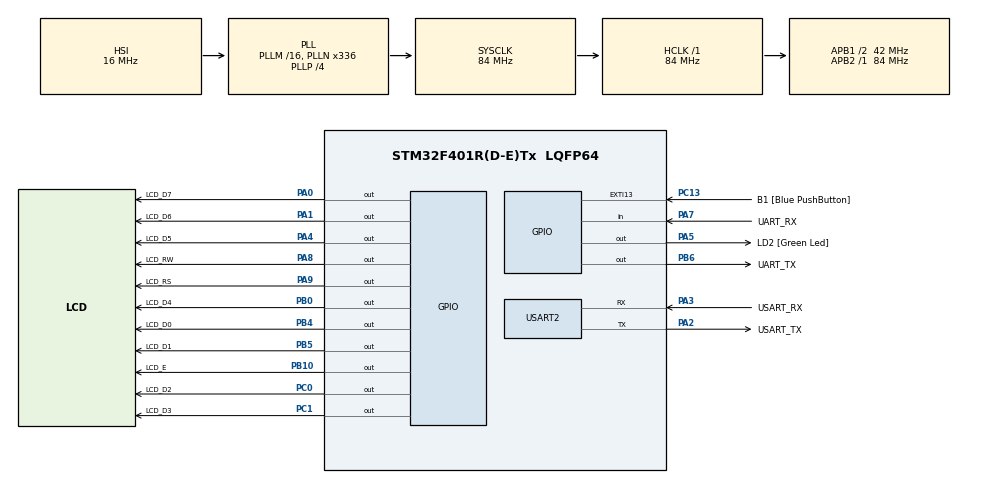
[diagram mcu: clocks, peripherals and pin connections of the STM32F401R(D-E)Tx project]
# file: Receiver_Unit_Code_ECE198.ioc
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Mcu.Family=STM32F4
Mcu.Name=STM32F401R(D-E)Tx
Mcu.Package=LQFP64
NVIC.PriorityGroup=NVIC_PRIORITYGROUP_0
PA0-WKUP.GPIO_Label=LCD_D7
PA0-WKUP.Signal=GPIO_Output
PA1.GPIO_Label=LCD_D6
PA1.Signal=GPIO_Output
PA13.GPIO_Label=TMS
PA13.Mode=Serial_Wire
PA13.Signal=SYS_JTMS-SWDIO
PA14.GPIO_Label=TCK
PA14.Mode=Serial_Wire
PA14.Signal=SYS_JTCK-SWCLK
PA2.GPIO_Label=USART_TX
PA2.GPIO_Mode=GPIO_MODE_AF_PP
PA2.GPIO_PuPd=GPIO_NOPULL
PA2.GPIO_Speed=GPIO_SPEED_FREQ_LOW
PA2.Mode=Asynchronous
PA2.Signal=USART2_TX
PA3.GPIO_Label=USART_RX
PA3.GPIO_Mode=GPIO_MODE_AF_PP
PA3.GPIO_PuPd=GPIO_NOPULL
PA3.GPIO_Speed=GPIO_SPEED_FREQ_LOW
PA3.Mode=Asynchronous
PA3.Signal=USART2_RX
PA4.GPIO_Label=LCD_D5
PA4.Signal=GPIO_Output
PA5.GPIO_Label=LD2 [Green Led]
PA5.GPIO_Mode=GPIO_MODE_OUTPUT_PP
PA5.GPIO_PuPd=GPIO_NOPULL
PA5.GPIO_Speed=GPIO_SPEED_FREQ_LOW
PA5.Signal=GPIO_Output
PA7.GPIO_Label=UART_RX
PA7.Signal=GPIO_Input
PA8.GPIO_Label=LCD_RW
PA8.Signal=GPIO_Output
PA9.GPIO_Label=LCD_RS
PA9.Signal=GPIO_Output
PB0.GPIO_Label=LCD_D4
PB0.Signal=GPIO_Output
PB10.GPIO_Label=LCD_E
PB10.Signal=GPIO_Output
PB3.GPIO_Label=SWO
PB3.Signal=SYS_JTDO-SWO
PB4.GPIO_Label=LCD_D0
PB4.Signal=GPIO_Output
PB5.GPIO_Label=LCD_D1
PB5.Signal=GPIO_Output
PB6.GPIO_Label=UART_TX
PB6.Signal=GPIO_Output
PC0.GPIO_Label=LCD_D2
PC0.Signal=GPIO_Output
PC1.GPIO_Label=LCD_D3
PC1.Signal=GPIO_Output
PC13-ANTI_TAMP.GPIO_Label=B1 [Blue PushButton]
PC13-ANTI_TAMP.GPIO_ModeDefaultEXTI=GPIO_MODE_IT_FALLING
PC13-ANTI_TAMP.GPIO_PuPd=GPIO_NOPULL
PC13-ANTI_TAMP.Signal=GPXTI13
PC14-OSC32_IN.Mode=LSE-External-Oscillator
PC14-OSC32_IN.Signal=RCC_OSC32_IN
PC15-OSC32_OUT.Mode=LSE-External-Oscillator
PC15-OSC32_OUT.Signal=RCC_OSC32_OUT
PH0\ -\ OSC_IN.Mode=HSE-External-Clock-Source
PH0\ -\ OSC_IN.Signal=RCC_OSC_IN
PH1\ -\ OSC_OUT.Mode=HSE-External-Clock-Source
PH1\ -\ OSC_OUT.Signal=RCC_OSC_OUT
ProjectManager.HeapSize=0x200
ProjectManager.StackSize=0x400
ProjectManager.TargetToolchain=STM32CubeIDE
RCC.48MHZClocksFreq_Value=48000000
RCC.AHBFreq_Value=84000000
RCC.APB1CLKDivider=RCC_HCLK_DIV2
RCC.APB1Freq_Value=42000000
RCC.APB1TimFreq_Value=84000000
RCC.APB2Freq_Value=84000000
RCC.APB2TimFreq_Value=84000000
RCC.CortexFreq_Value=84000000
RCC.HCLKFreq_Value=84000000
RCC.HSE_VALUE=8000000
RCC.HSI_VALUE=16000000
RCC.PLLN=336
RCC.PLLP=RCC_PLLP_DIV4
RCC.PLLQ=7
RCC.SYSCLKFreq_VALUE=84000000
RCC.SYSCLKSource=RCC_SYSCLKSOURCE_PLLCLK
RCC.VCOOutputFreq_Value=336000000
USART2.VirtualMode=VM_ASYNC
board=NUCLEO-F401RE

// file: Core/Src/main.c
/* USER CODE BEGIN Header */
/**
  ******************************************************************************
  * @file           : main.c
  * @brief          : Main program body
  ******************************************************************************
  * @attention
  *
  * Copyright (c) 2024 STMicroelectronics.
  * All rights reserved.
  *
  * This software is licensed under terms that can be found in the LICENSE file
  * in the root directory of this software component.
  * If no LICENSE file comes with this software, it is provided AS-IS.
  *
  ******************************************************************************
  */
/* USER CODE END Header */
#include "main.h"

/* USER CODE BEGIN Includes */
#include "lcd.h"
#include "uart_d.h"
#include "stdio.h"

/* USER CODE END Includes */

UART_HandleTypeDef huart2;

void SystemClock_Config(void);
static void MX_GPIO_Init(void);
static void MX_USART2_UART_Init(void);

/* USER CODE BEGIN 0 */
int _write(int file, char *data, int len){
	HAL_UART_Transmit(&huart2, (uint8_t*)data, len, HAL_MAX_DELAY);
	return len;
}
/* USER CODE END 0 */

int main(void)
{

  /* MCU Configuration--------------------------------------------------------*/

  /* Reset of all peripherals, Initializes the Flash interface and the Systick. */
  HAL_Init();

  /* Configure the system clock */
  SystemClock_Config();

  /* Initialize all configured peripherals */
  MX_GPIO_Init();
  MX_USART2_UART_Init();
  /* USER CODE BEGIN 2 */
	lcd_init();
	lcd_print_chars("INIT DONE", 0);
//	HAL_GPIO_WritePin(GPIOA, UART_TX_Pin, GPIO_PIN_SET);
//	HAL_Delay(1000);
//	HAL_GPIO_WritePin(GPIOA, UART_TX_Pin, GPIO_PIN_RESET);
	lcd_clear();
	lcd_print_chars("ready", 0);
	printf("Ready\n\r");

	 long long position = 0;
   long long velocity = 0;
	unsigned long long dt = 400;

//	lcd_clear();
//	lcd_print_chars("done", 0);
  /* USER CODE END 2 */

  /* Infinite loop */
  /* USER CODE BEGIN WHILE */
  while (1)
  {
//	  HAL_GPIO_WritePin(GPIOA, UART_TX_Pin, GPIO_PIN_SET);
//	  HAL_Delay(1000);
//	  HAL_GPIO_WritePin(GPIOA, UART_TX_Pin, GPIO_PIN_RESET);
//	  HAL_Delay(0);100

//	  int received = UART_read_byte();
//	  printf("RX Pin: %d \n\r", HAL_GPIO_ReadPin(GPIOA, UART_RX_Pin));
	  int data = readMsg(GPIOA, UART_RX_Pin, 15);
	  printf("Received: %d\n\r", data);
	  char send[10];

//	  velocity = velocity + (dt*(data));
//	  position = position + (dt*velocity);
	  sprintf(send, "%d", data);
	  lcd_clear();
	  lcd_print_chars(send,0);

    /* USER CODE END WHILE */

  }
}

void SystemClock_Config(void)
{
  RCC_OscInitTypeDef RCC_OscInitStruct = {0};
  RCC_ClkInitTypeDef RCC_ClkInitStruct = {0};

  /** Configure the main internal regulator output voltage
  */
  __HAL_RCC_PWR_CLK_ENABLE();
  __HAL_PWR_VOLTAGESCALING_CONFIG(PWR_REGULATOR_VOLTAGE_SCALE2);

  /** Initializes the RCC Oscillators according to the specified parameters
  * in the RCC_OscInitTypeDef structure.
  */
  RCC_OscInitStruct.OscillatorType = RCC_OSCILLATORTYPE_HSI;
  RCC_OscInitStruct.HSIState = RCC_HSI_ON;
  RCC_OscInitStruct.HSICalibrationValue = RCC_HSICALIBRATION_DEFAULT;
  RCC_OscInitStruct.PLL.PLLState = RCC_PLL_ON;
  RCC_OscInitStruct.PLL.PLLSource = RCC_PLLSOURCE_HSI;
  RCC_OscInitStruct.PLL.PLLM = 16;
  RCC_OscInitStruct.PLL.PLLN = 336;
  RCC_OscInitStruct.PLL.PLLP = RCC_PLLP_DIV4;
  RCC_OscInitStruct.PLL.PLLQ = 7;
  if (HAL_RCC_OscConfig(&RCC_OscInitStruct) != HAL_OK)
  {
    Error_Handler();
  }

  /** Initializes the CPU, AHB and APB buses clocks
  */
  RCC_ClkInitStruct.ClockType = RCC_CLOCKTYPE_HCLK|RCC_CLOCKTYPE_SYSCLK
                              |RCC_CLOCKTYPE_PCLK1|RCC_CLOCKTYPE_PCLK2;
  RCC_ClkInitStruct.SYSCLKSource = RCC_SYSCLKSOURCE_PLLCLK;
  RCC_ClkInitStruct.AHBCLKDivider = RCC_SYSCLK_DIV1;
  RCC_ClkInitStruct.APB1CLKDivider = RCC_HCLK_DIV2;
  RCC_ClkInitStruct.APB2CLKDivider = RCC_HCLK_DIV1;

  if (HAL_RCC_ClockConfig(&RCC_ClkInitStruct, FLASH_LATENCY_2) != HAL_OK)
  {
    Error_Handler();
  }
}

static void MX_USART2_UART_Init(void)
{

  huart2.Instance = USART2;
  huart2.Init.BaudRate = 115200;
  huart2.Init.WordLength = UART_WORDLENGTH_8B;
  huart2.Init.StopBits = UART_STOPBITS_1;
  huart2.Init.Parity = UART_PARITY_NONE;
  huart2.Init.Mode = UART_MODE_TX_RX;
  huart2.Init.HwFlowCtl = UART_HWCONTROL_NONE;
  huart2.Init.OverSampling = UART_OVERSAMPLING_16;
  if (HAL_UART_Init(&huart2) != HAL_OK)
  {
    Error_Handler();
  }

}

static void MX_GPIO_Init(void)
{
  GPIO_InitTypeDef GPIO_InitStruct = {0};

  /* GPIO Ports Clock Enable */
  __HAL_RCC_GPIOC_CLK_ENABLE();
  __HAL_RCC_GPIOH_CLK_ENABLE();
  __HAL_RCC_GPIOA_CLK_ENABLE();
  __HAL_RCC_GPIOB_CLK_ENABLE();

  /*Configure GPIO pin Output Level */
  HAL_GPIO_WritePin(GPIOC, LCD_D2_Pin|LCD_D3_Pin, GPIO_PIN_RESET);

  /*Configure GPIO pin Output Level */
  HAL_GPIO_WritePin(GPIOA, LCD_D7_Pin|LCD_D6_Pin|LCD_D5_Pin|LD2_Pin
                          |LCD_RW_Pin|LCD_RS_Pin, GPIO_PIN_RESET);

  /*Configure GPIO pin Output Level */
  HAL_GPIO_WritePin(GPIOB, LCD_D4_Pin|LCD_E_Pin|LCD_D0_Pin|LCD_D1_Pin
                          |UART_TX_Pin, GPIO_PIN_RESET);

  /*Configure GPIO pin : B1_Pin */
  GPIO_InitStruct.Pin = B1_Pin;
  GPIO_InitStruct.Mode = GPIO_MODE_IT_FALLING;
  GPIO_InitStruct.Pull = GPIO_NOPULL;
  HAL_GPIO_Init(B1_GPIO_Port, &GPIO_InitStruct);

  /*Configure GPIO pins : LCD_D2_Pin LCD_D3_Pin */
  GPIO_InitStruct.Pin = LCD_D2_Pin|LCD_D3_Pin;
  GPIO_InitStruct.Mode = GPIO_MODE_OUTPUT_PP;
  GPIO_InitStruct.Pull = GPIO_NOPULL;
  GPIO_InitStruct.Speed = GPIO_SPEED_FREQ_LOW;
  HAL_GPIO_Init(GPIOC, &GPIO_InitStruct);

  /*Configure GPIO pins : LCD_D7_Pin LCD_D6_Pin LCD_D5_Pin LD2_Pin
                           LCD_RW_Pin LCD_RS_Pin */
  GPIO_InitStruct.Pin = LCD_D7_Pin|LCD_D6_Pin|LCD_D5_Pin|LD2_Pin
                          |LCD_RW_Pin|LCD_RS_Pin;
  GPIO_InitStruct.Mode = GPIO_MODE_OUTPUT_PP;
  GPIO_InitStruct.Pull = GPIO_NOPULL;
  GPIO_InitStruct.Speed = GPIO_SPEED_FREQ_LOW;
  HAL_GPIO_Init(GPIOA, &GPIO_InitStruct);

  /*Configure GPIO pin : UART_RX_Pin */
  GPIO_InitStruct.Pin = UART_RX_Pin;
  GPIO_InitStruct.Mode = GPIO_MODE_INPUT;
  GPIO_InitStruct.Pull = GPIO_NOPULL;
  HAL_GPIO_Init(UART_RX_GPIO_Port, &GPIO_InitStruct);

  /*Configure GPIO pins : LCD_D4_Pin LCD_E_Pin LCD_D0_Pin LCD_D1_Pin
                           UART_TX_Pin */
  GPIO_InitStruct.Pin = LCD_D4_Pin|LCD_E_Pin|LCD_D0_Pin|LCD_D1_Pin
                          |UART_TX_Pin;
  GPIO_InitStruct.Mode = GPIO_MODE_OUTPUT_PP;
  GPIO_InitStruct.Pull = GPIO_NOPULL;
  GPIO_InitStruct.Speed = GPIO_SPEED_FREQ_LOW;
  HAL_GPIO_Init(GPIOB, &GPIO_InitStruct);

}

void Error_Handler(void)
{
  __disable_irq();
  while (1)
  {
  }
}
